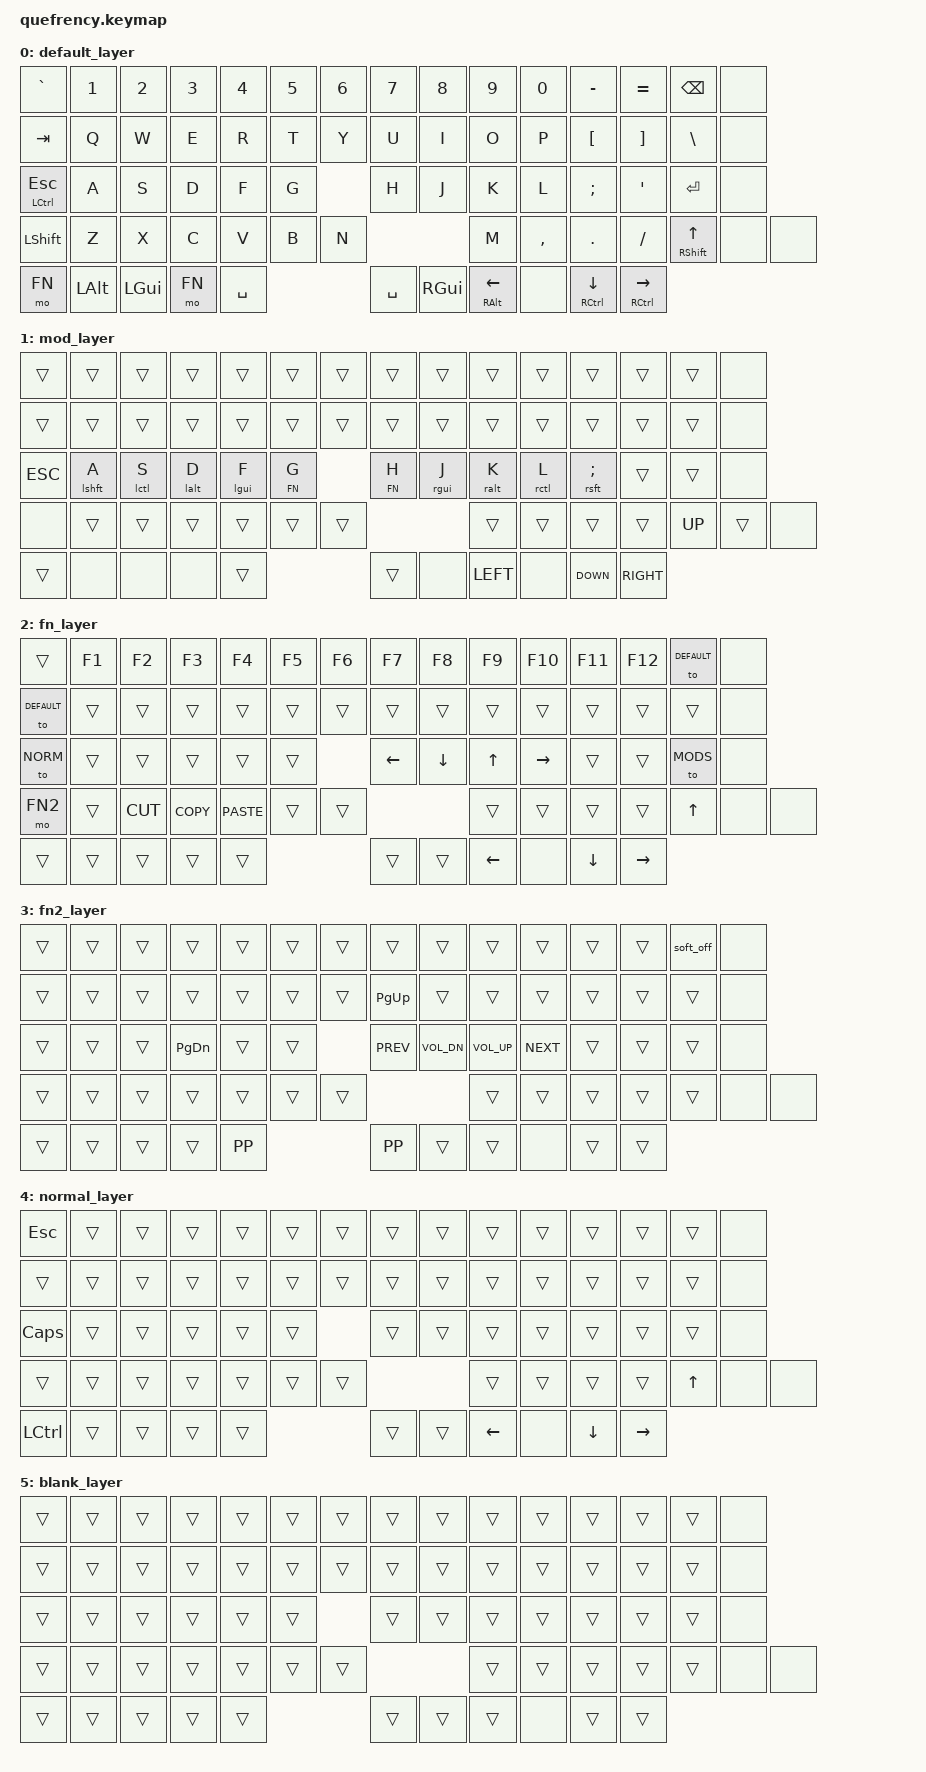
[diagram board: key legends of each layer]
/*
 * Copyright (c) 2020 The ZMK Contributors
 *
 * SPDX-License-Identifier: MIT
 */

/*
	- Caps lock is combination escape and left-control
	- fn+<num>		= F keys
	- fn+<h,j,k,l>	= arrows
	- Modifiers in bottom left corner act as arrows when tapped, normal when held
	- fn+modifiers in bottom left corner act as arrows

	- fn+caps				= "normal" layer
	- fn+tab				= defaut layer
	- fn+shift-backspace	= soft off

	The "normal" layer is intended to work as a "normal" keyboard as much as
	possible, with the exception that the modifiers in the bottom left are only
	used as arrow keys in this mode.
*/

#include <behaviors.dtsi>
#include <dt-bindings/zmk/bt.h>
#include <dt-bindings/zmk/outputs.h>
#include <dt-bindings/zmk/keys.h>

#define DEFAULT 0
#define MODS	1
#define FN		2
#define FN2		3
#define NORM	4
#define BLANK	5

#define KEYS_L	GRAVE N1 N2 N3 N4 N5 N6			\
				TAB Q W E R T					\
					A S D F G					\
					Z X C V B					\
				SPACE LEFT DOWN RIGHT

#define KEYS_R	N7 N8 N9 N0 MINUS EQUAL BSPC	\
				Y U I O P LBKT RBKT BSLH		\
				H J K L SEMI SQT RET			\
				N M COMMA DOT FSLH UP			\
				SPACE LEFT DOWN RIGHT

/ {
	behaviors {
		ce: caps_to_esc {
			compatible					= "zmk,behavior-hold-tap";
			label						= "CAPS_TO_ESC";
			#binding-cells				= <2>;
			tapping-term-ms				= <400>;
			quick-tap-ms				= <150>;
			flavor						= "hold-preferred";
			bindings					= <&kp>, <&kp>;
		};

        hml: home_row_mod_left {
            compatible					= "zmk,behavior-hold-tap";
            #binding-cells				= <2>;
            flavor						= "balanced";
            require-prior-idle-ms		= <150>;
            tapping-term-ms				= <280>;
            quick-tap-ms				= <175>;
			bindings					= <&kp>, <&kp>;
            hold-trigger-key-positions	= < KEYS_R >;
            hold-trigger-on-release;
        };
        hmr: home_row_mod_right {
            compatible					= "zmk,behavior-hold-tap";
            #binding-cells				= <2>;
            flavor						= "balanced";
            require-prior-idle-ms		= <150>;
            tapping-term-ms				= <280>;
            quick-tap-ms				= <175>;
			bindings					= <&kp>, <&kp>;
            hold-trigger-key-positions	= < KEYS_L >;
            hold-trigger-on-release;
        };

        hll: home_row_layer_left {
            compatible					= "zmk,behavior-hold-tap";
            #binding-cells				= <2>;
            flavor						= "balanced";
            require-prior-idle-ms		= <150>;
            tapping-term-ms				= <280>;
            quick-tap-ms				= <175>;
			bindings					= <&mo>, <&kp>;
            hold-trigger-key-positions	= < KEYS_R >;
            hold-trigger-on-release;
        };
        hlr: home_row_layer_right {
            compatible					= "zmk,behavior-hold-tap";
            #binding-cells				= <2>;
            flavor						= "balanced";
            require-prior-idle-ms		= <150>;
            tapping-term-ms				= <280>;
            quick-tap-ms				= <175>;
			bindings					= <&mo>, <&kp>;
            hold-trigger-key-positions	= < KEYS_L >;
            hold-trigger-on-release;
        };

    };

    keymap {
        compatible = "zmk,keymap";

// ----------------------------------------------      ----------------------------------------------
// | GRAVE |  1   |  2  |  3   |  4  |  5  |  6  |      |  7  |  8  |  9  |  0  |  -  |  =  |  BKSPC|
// | TAB   |  Q   |  W  |  E   |  R  |  T  |        |  Y  |  U  |  I  |  O  |  P  |  [  |  ]  |  \  |
// | LCTRL  |  A   |  S  |  D   |  F  |  G  |        |  H  |  J  |  K  |  L  |  ;  |  '  |   ENTER  |
// | SHIFT   |  Z   |  X  |  C  |  V   |  B  |        |  N  |  M  |  ,  |  .  |  /  |  RSHFT        |
// | LCTRL   | LALT | LGUI |   SPACE   | FN  |        |    SPACE         | RGUI | RALT | FN | RCTRL |
// -------------------------------------------        -----------------------------------------------

// NOTE The original quefrency board has a number of optional keys, so I have
// set the keys that don't exist in my physical hardware to &none

        default_layer {
            bindings = <
/* Left side */                                                                       /* Right side */                                                                                         /* Dummy keys */
&kp GRAVE      &kp N1       &kp N2       &kp N3       &kp N4 &kp N5 &kp N6      /* */ &kp N7      &kp N8         &kp N9          &kp N0      &kp MINUS       &kp EQUAL      &kp BSPC               /* */ &none
&kp TAB        &kp Q        &kp W        &kp E        &kp R  &kp T              /* */ &kp Y       &kp U          &kp I           &kp O       &kp P           &kp LBKT       &kp RBKT &kp BSLH      /* */ &none
&ce LCTRL ESC  &kp A        &kp S        &kp D        &kp F  &kp G              /* */ &kp H       &kp J          &kp K           &kp L       &kp SEMI		 &kp SQT        &kp RET                /* */ &none
&kp LSHFT      &kp Z	    &kp X        &kp C        &kp V  &kp B              /* */ &kp N       &kp M          &kp COMMA       &kp DOT     &kp FSLH        &ce RSHFT UP                          /* */ &none &none
&mo FN         &kp LALT     &kp LGUI     &mo FN       &kp SPACE                 /* */ &kp SPACE   &kp RGUI       &ce RALT LEFT   &none       &ce RCTRL DOWN  &ce RCTRL RIGHT
            >;
        };

		mod_layer {
            bindings = <
/* Left side */                                                                       /* Right side */                                                                                         /* Dummy keys */
&trans         &trans       &trans       &trans       &trans &trans &trans      /* */ &trans      &trans         &trans          &trans      &trans          &trans         &trans			       /* */ &none
&trans	       &trans       &trans		 &trans       &trans      &trans        /* */ &trans      &trans         &trans          &trans      &trans          &trans         &trans   &trans        /* */ &none
&ESC           &hml lshft A &hml lctl S  &hml lalt D  &hml lgui F &hll FN G     /* */ &hlr FN H   &hmr rgui J    &hmr ralt K     &hmr rctl L &hmr rsft SEMI  &trans         &trans                 /* */ &none
&none          &trans       &trans       &trans       &trans      &trans        /* */ &trans      &trans         &trans          &trans      &trans          &UP	        &trans                 /* */ &none
&trans         &none        &none        &none        &trans                    /* */ &trans      &none          &LEFT           &none       &DOWN           &RIGHT
            >;
        };

		/* fn+<...> */
        fn_layer {
            bindings = <
/* Left side */                                                                       /* Right side */                                                                                         /* Dummy keys */
&trans         &kp F1       &kp F2       &kp F3       &kp F4 &kp F5 &kp F6      /* */ &kp F7      &kp F8         &kp F9          &kp F10     &kp F11         &kp F12        &to DEFAULT            /* */ &none
&to DEFAULT    &trans       &trans		 &trans       &trans      &trans        /* */ &trans      &trans         &trans          &trans      &trans          &trans         &trans   &trans        /* */ &none
&to NORM       &trans       &trans       &trans       &trans      &trans        /* */ &kp LEFT    &kp DOWN       &kp UP          &kp RIGHT   &trans          &trans         &to MODS               /* */ &none
&mo FN2        &trans       &kp K_CUT    &kp K_COPY   &kp K_PASTE &trans        /* */ &trans      &trans         &trans          &trans      &trans          &kp UP                                /* */ &none &none
&trans         &trans       &trans       &trans       &trans                    /* */ &trans      &trans         &kp LEFT        &none       &kp DOWN        &kp RIGHT
            >;
        };

		/* fn+shift+<...> */
        fn2_layer {
            bindings = <
/* Left side */                                                                       /* Right side */                                                                                         /* Dummy keys */
&trans         &trans       &trans       &trans       &trans &trans &trans      /* */ &trans      &trans         &trans          &trans      &trans          &trans         &soft_off              /* */ &none
&trans         &trans       &trans		 &trans       &trans      &trans        /* */ &trans      &kp PG_UP      &trans          &trans      &trans          &trans         &trans   &trans        /* */ &none
&trans         &trans       &trans       &kp PG_DN    &trans      &trans        /* */ &kp K_PREV  &kp K_VOL_DN   &kp K_VOL_UP    &kp K_NEXT  &trans          &trans         &trans                 /* */ &none
&trans         &trans       &trans       &trans       &trans      &trans        /* */ &trans      &trans         &trans          &trans      &trans          &trans                                /* */ &none &none
&trans         &trans       &trans       &trans       &kp K_PP                  /* */ &kp K_PP    &trans         &trans          &none       &trans          &trans
            >;
        };

        normal_layer {
            bindings = <
/* Left side */                                                                       /* Right side */                                                                                         /* Dummy keys */
&kp ESC        &trans       &trans       &trans       &trans &trans &trans      /* */ &trans      &trans         &trans          &trans      &trans          &trans         &trans                 /* */ &none
&trans         &trans       &trans		 &trans       &trans      &trans        /* */ &trans      &trans         &trans          &trans      &trans          &trans         &trans   &trans        /* */ &none
&kp CAPSLOCK   &trans       &trans       &trans       &trans      &trans        /* */ &trans      &trans         &trans          &trans      &trans          &trans         &trans                 /* */ &none
&trans         &trans       &trans       &trans       &trans      &trans        /* */ &trans      &trans         &trans          &trans      &trans          &kp UP                                /* */ &none &none
&kp LCTRL      &trans       &trans       &trans       &trans                    /* */ &trans      &trans         &kp LEFT        &none       &kp DOWN        &kp RIGHT
            >;
        };

        blank_layer {
            bindings = <
/* Left side */                                                                       /* Right side */                                                                                         /* Dummy keys */
&trans         &trans       &trans       &trans       &trans &trans &trans      /* */ &trans      &trans         &trans          &trans      &trans          &trans         &trans                 /* */ &none
&trans         &trans       &trans		 &trans       &trans      &trans        /* */ &trans      &trans         &trans          &trans      &trans          &trans         &trans   &trans        /* */ &none
&trans         &trans       &trans       &trans       &trans      &trans        /* */ &trans      &trans         &trans          &trans      &trans          &trans         &trans                 /* */ &none
&trans         &trans       &trans       &trans       &trans      &trans        /* */ &trans      &trans         &trans          &trans      &trans          &trans                                /* */ &none &none
&trans         &trans       &trans       &trans       &trans                    /* */ &trans      &trans         &trans          &none       &trans          &trans
            >;
        };
    };
};

